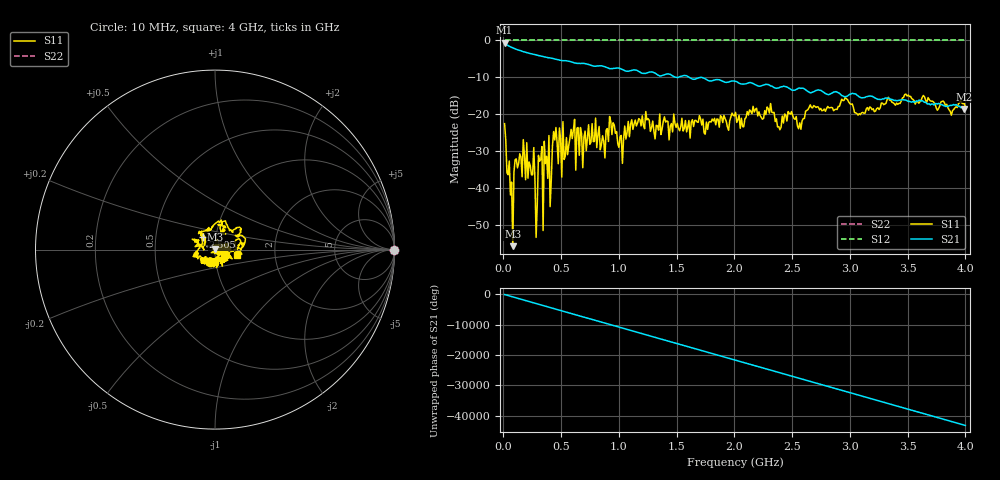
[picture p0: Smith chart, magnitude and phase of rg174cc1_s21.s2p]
! Anritsu VNA Master:  Model: MS2024B
! SN:  2417009
! /card0/usr/rg174cc1_s21.s2p
! Existing Calibration Information:
! TYPE:  Current Settings,  Active Cal Settings
! TIME:  10/07/2026 02:06:27 AM,  10/07/2026 01:30:09 AM
! INTERNAL TEMP:  51.3 C,  49.0 C
! # POINTS:  396,  396
! START FREQ:  10.000 MHz,  10.000 MHz
! STOP FREQ:  4.000 GHz,  4.000 GHz
! SOURCE POWER:  Default,  Default
! IFBW:  1 kHz,  1 kHz
! AVG FACTOR:  16 ,  16
! REF PLANE 1:  0 mm,  0 mm
! REF PLANE 2:  0 mm,  0 mm
! CAL TYPE:  1P2P S11,S21,  1P2P S11,S21
! CAL METHOD:  SOLT,  SOLT
! CAL LINE TYPE:  Coax,  Coax
! DUT PORT 1:  N-Conn(M),  N-Conn(M)
! DUT PORT 2:  N-Conn(M),  N-Conn(M)
! CAL STATUS:  OK: Accuracy High,  --
# GHZ S DB R 50.0
! FREQ.GHZ  S11DB  S11A  S21DB  S21A  S12DB  S12A  S22DB  S22A
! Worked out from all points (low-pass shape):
!   396 points, 10 MHz to 4 GHz, reference 50 ohm
!   highest |S21| = -0.59 dB at 10 MHz (marker M1); lowest = -18.5 dB at 3.99 GHz (marker M2)
!   |S21| within 3 dB of the highest: start of sweep to 236.4 MHz
!   lowest |S11| = -55.7 dB at 80.71 MHz (marker M3), VSWR 1.00, Z = 50.1 + j0.134 ohm
!   |S11| at or under -10 dB: start of sweep to end of sweep
!   |S22| runs from 0.0 to 0.0 dB; largest |S21 - S12| = 1.8
!   S11 on the Smith chart (normalised r, x): 10 MHz: 0.94, -0.13; 2.505 GHz: 0.87, +0.12; 4 GHz: 1.28, -0.08
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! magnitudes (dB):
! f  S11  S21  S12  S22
! 10 MHz  -22.5  -0.6  0.0  0.0
! 70.61 MHz  -38.4  -1.9  0.0  0.0
! 80.71 MHz  -55.7  -2.0  0.0  0.0
! 100.9 MHz  -32.3  -2.3  0.0  0.0
! 171.6 MHz  -26.8  -3.0  0.0  0.0
! 262.5 MHz  -29.0  -3.8  0.0  0.0
! 282.7 MHz  -53.3  -3.9  0.0  0.0
! 302.9 MHz  -31.1  -4.1  0.0  0.0
! 333.2 MHz  -28.7  -4.3  0.0  0.0
! 343.3 MHz  -51.5  -4.4  0.0  0.0
! 353.4 MHz  -27.3  -4.5  0.0  0.0
! 393.8 MHz  -25.8  -4.7  0.0  0.0
! 403.9 MHz  -45.0  -4.7  0.0  0.0
! 434.3 MHz  -24.7  -4.9  0.0  0.0
! 676.7 MHz  -25.4  -6.2  0.0  0.0
! 1.343 GHz  -24.3  -9.5  0.0  0.0
! 2.01 GHz  -19.4  -11.1  0.0  0.0
! 2.505 GHz  -20.3  -13.5  0.0  0.0
! 2.677 GHz  -18.3  -14.0  0.0  0.0
! 3.343 GHz  -16.2  -15.7  0.0  0.0
! 3.99 GHz  -17.1  -18.5  0.0  0.0
! 4 GHz  -18.0  -18.2  0.0  0.0
